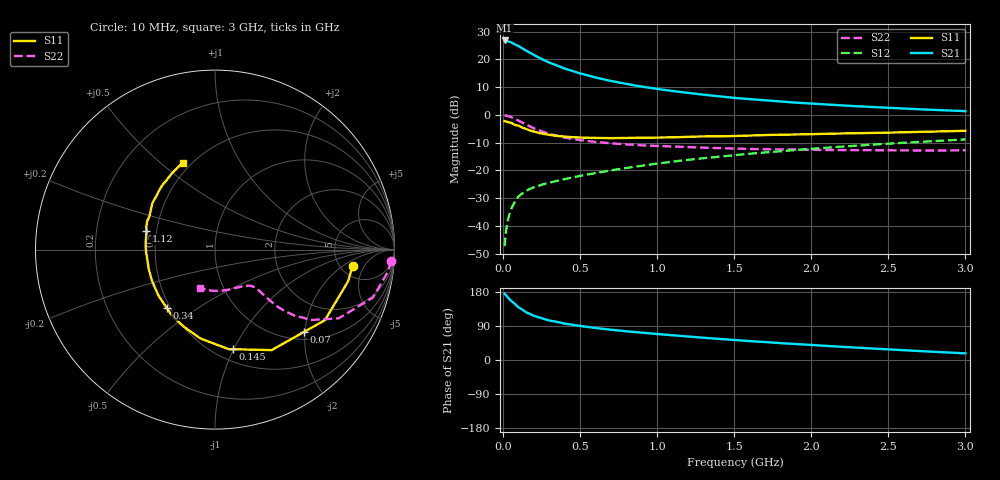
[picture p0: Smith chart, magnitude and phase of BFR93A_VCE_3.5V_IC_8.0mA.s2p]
! Infineon Technologies  Discrete & RF Semiconductors
! BFR93A
! VCE =  3.5 V,  IC =  8.0 mA
! Common Emitter S-Parameters:  Nov 2015
# GHz  S  MA  R  50
!  f  S11  S21  S12  S22
! GHz  MAG  ANG  MAG  ANG  MAG  ANG  MAG  ANG
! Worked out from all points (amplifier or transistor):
!   180 points, 10 MHz to 3 GHz, reference 50 ohm
!   highest |S21| = 26.8 dB at 10 MHz (marker M1)
!   |S21| within 3 dB of that: start of sweep to 129.2 MHz
!   unconditionally stable (mu >= 1): 620.3 MHz to 2.793 GHz
!   at 160 MHz: K = 0.45, MSG = 25.0 dB, |S12| = -27.1 dB
!   at 1.22 GHz: K = 1.10, MAG = 10.0 dB, |S12| = -16.1 dB
!   at 3 GHz: K = 0.98, MSG = 5.1 dB, |S12| = -8.8 dB
!   S11 on the Smith chart (normalised r, x): 10 MHz: 6.47, -2.89; 70 MHz: 1.16, -1.97; 145 MHz: 0.61, -0.99; 340 MHz: 0.48, -0.38; 1.12 GHz: 0.44, +0.11; 3 GHz: 0.45, +0.59
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0.01  0.7722 -6.7  21.97 174.9  0.0043 86.0  0.9822 -3.7
0.02  0.7623 -13.4  21.75 170.2  0.0084 83.3  0.9727 -7.1
0.05  0.7278 -32.7  20.51 156.7  0.0195 74.6  0.9194 -16.9
0.07  0.6747 -43.0  19.07 150.3  0.0251 68.6  0.8626 -21.3
0.1  0.6427 -60.6  17.44 139.0  0.0339 63.5  0.7887 -29.0
0.145  0.5642 -79.8  14.65 127.4  0.0421 57.9  0.6774 -35.3
0.15  0.5599 -82.2  14.38 125.8  0.043 57.4  0.6656 -36.1
0.2  0.5016 -99.3  12 116.6  0.0497 55.0  0.5729 -39.8
0.24  0.4681 -109.9  10.51 111.1  0.0539 53.9  0.5178 -41.4
0.3  0.4384 -123.3  8.771 104.2  0.06 53.9  0.4548 -42.6
0.34  0.421 -129.9  7.973 101.4  0.0638 54.4  0.4285 -42.7
0.4  0.4064 -140.7  6.824 95.9  0.0696 55.1  0.3891 -43.0
0.52  0.3895 -155.4  5.411 88.7  0.0815 56.7  0.3456 -42.9
0.6  0.3848 -163.4  4.723 84.4  0.0893 57.7  0.3244 -43.0
0.7  0.3816 -171.1  4.088 79.8  0.1 58.6  0.3069 -43.5
0.8  0.3841 -178.2  3.608 75.7  0.1106 59.5  0.2935 -44.2
1.02  0.3906 169.4  2.883 67.9  0.1346 59.8  0.274 -47.2
1.12  0.3957 164.7  2.652 64.5  0.1459 59.8  0.2669 -49.1
1.52  0.4176 149.1  2.004 52.1  0.1904 58.3  0.2466 -58.4
2.02  0.4515 134.1  1.585 39.1  0.2471 54.7  0.2342 -73.2
2.52  0.4804 121.8  1.33 27.6  0.3054 49.8  0.2299 -90.7
3  0.5164 110.5  1.168 17.6  0.3615 44.3  0.2308 -111.1
